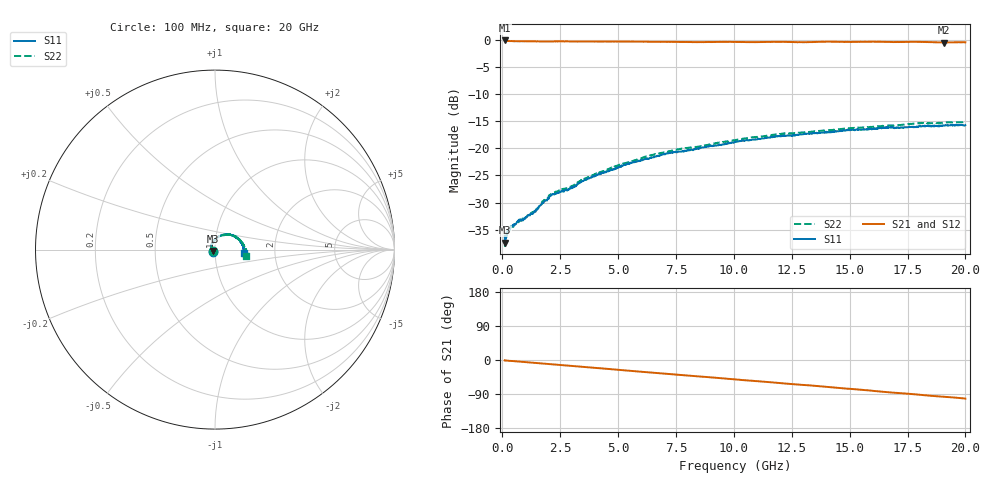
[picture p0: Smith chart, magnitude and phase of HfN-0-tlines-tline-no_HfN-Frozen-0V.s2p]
#  HZ  S  RI  R  50.00
! Rohde & Schwarz ZVA50 4Ports - Version 3.60 - 1145.1110k52 SN: 100151
! Date: 2024-12-13 12:34:43
! Measurements: S11 S21 S12 S22
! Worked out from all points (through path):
!   1001 points, 100 MHz to 20 GHz, reference 50 ohm
!   highest |S21| = -0.10 dB at 100 MHz (marker M1); lowest = -0.5 dB at 19.08 GHz (marker M2)
!   group delay of S21, straight-line fit = 14 ps
!   lowest |S11| = -37.4 dB at 119.9 MHz (marker M3), VSWR 1.03, Z = 48.9 - j0.818 ohm
!   |S11| at or under -10 dB: start of sweep to end of sweep
!   |S22| runs from -38.0 to -15.1 dB; largest |S21 - S12| = 0.016
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1e8  -0.00976 -0.0123  0.9885 -0.0191  0.9859 -0.0223  -0.00902 -0.0091
1.199e8  -0.0106 -0.00836  0.9856 -0.0271  0.9842 -0.023  -0.00994 -0.00762
2.194e8  -0.0158 -0.00645  0.9771 -0.0271  0.9784 -0.0293  -0.0163 -0.00511
2.592e8  -0.017 -0.00415  0.978 -0.0354  0.9769 -0.0325  -0.0162 -0.00381
4.184e8  -0.0189 0.000465  0.9741 -0.0435  0.9735 -0.045  -0.0184 0.000736
7.169e8  -0.0199 0.00735  0.9694 -0.0672  0.97 -0.0682  -0.0198 0.00755
9.358e8  -0.0199 0.0101  0.967 -0.0864  0.9678 -0.087  -0.0193 0.0114
1.3736e9  -0.0198 0.0173  0.9607 -0.124  0.962 -0.1248  -0.019 0.0184
2.1099e9  -0.0175 0.0326  0.9499 -0.1846  0.9492 -0.1834  -0.0172 0.0335
2.8661e9  -0.00945 0.0404  0.9362 -0.2494  0.9359 -0.249  -0.00792 0.0428
3.4233e9  -0.00546 0.049  0.9208 -0.2947  0.9213 -0.2945  -0.00445 0.0505
5.2541e9  0.0146 0.0688  0.8598 -0.4432  0.8594 -0.4387  0.0173 0.07
6.7466e9  0.0344 0.0779  0.7887 -0.5474  0.7903 -0.5465  0.0391 0.0808
1.005e10  0.079 0.0839  0.6006 -0.7471  0.6022 -0.7452  0.0856 0.0826
1.21793e10  0.1063 0.0755  0.4512 -0.8472  0.4551 -0.8398  0.1165 0.0706
1.33733e10  0.1198 0.0661  0.3661 -0.884  0.3647 -0.8852  0.1291 0.061
1.43683e10  0.131 0.0581  0.2832 -0.9197  0.2871 -0.915  0.1393 0.0514
1.53832e10  0.1418 0.0461  0.1999 -0.9387  0.2019 -0.9421  0.1495 0.0396
1.66966e10  0.1521 0.0331  0.0805 -0.9555  0.0892 -0.9591  0.161 0.0241
1.79105e10  0.1582 0.0169  -0.0203 -0.9595  -0.0176 -0.9584  0.1695 0.00569
1.90846e10  0.1618 -0.00287  -0.1149 -0.9392  -0.1121 -0.9402  0.172 -0.0156
2e10  0.1626 -0.0177  -0.195 -0.9306  -0.1974 -0.9299  0.1712 -0.0343
